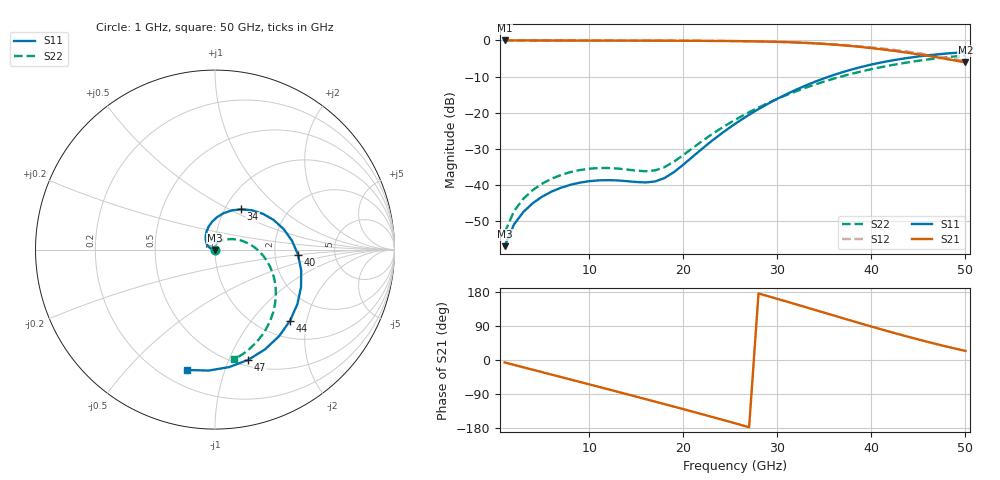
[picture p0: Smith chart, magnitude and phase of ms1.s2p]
! Impedora 0.10.0 via model, case ms1 (fullwave/cases.json), 2026-11-19
! Microstrip launch: 0.5 mm pad 0.2 mm above the top plane, 0.7 mm antipad, one plane pair: with its pads and traces, ports at the far end of each trace, after the 3D port calibration.
! Ports: 1 = upper end, 2 = lower end, 50 ohm.
! Compared with the edge 3D mesh.
# Hz S RI R 50
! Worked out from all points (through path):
!   50 points, 1 GHz to 50 GHz, reference 50 ohm
!   highest |S21| = 0.00 dB at 1 GHz (marker M1); lowest = -6.1 dB at 50 GHz (marker M2)
!   group delay of S21, straight-line fit = 19 ps
!   lowest |S11| = -57.0 dB at 1 GHz (marker M3), VSWR 1.00, Z = 50 - j0.14 ohm
!   |S11| at or under -10 dB: start of sweep to 35.51 GHz
!   |S22| runs from -53.3 to -4.2 dB; largest |S21 - S12| = 1.4
!   S11 on the Smith chart (normalised r, x): 1 GHz: 1.00, -0.00; 34 GHz: 1.19, +0.58; 40 GHz: 2.71, -0.19; 44 GHz: 1.35, -1.60; 47 GHz: 0.57, -1.18; 50 GHz: 0.29, -0.75
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1e9  -0.000202 -0.0014  0.9937 -0.1119  0.9981 -0.0609  -0.000124 -0.00217
2e9  -0.000807 -0.00271  0.9748 -0.2223  0.9924 -0.1215  -0.000498 -0.0043
3e9  -0.0018 -0.00382  0.9436 -0.3298  0.983 -0.1817  -0.00113 -0.00634
4e9  -0.00312 -0.00462  0.9005 -0.4332  0.9698 -0.2411  -0.00203 -0.00823
7e9  -0.00802 -0.00434  0.7063 -0.7054  0.909 -0.413  -0.00612 -0.0123
1e10  -0.0112 -0.000248  0.4326 -0.8983  0.8175 -0.5715  -0.0113 -0.0124
1.4e10  -0.0101 0.00492  -0.00346 -0.9951  0.6516 -0.7533  -0.0158 -0.00408
1.6e10  -0.00955 0.00502  -0.2279 -0.9673  0.5516 -0.8281  -0.0149 0.00388
1.8e10  -0.0118 0.004  -0.4412 -0.8888  0.4417 -0.8902  -0.0105 0.0141
2.2e10  -0.0298 0.0104  -0.7892 -0.5936  0.1967 -0.9695  0.0135 0.038
2.4e10  -0.0431 0.0267  -0.9029 -0.3903  0.0651 -0.9831  0.0354 0.049
2.6e10  -0.052 0.0571  -0.9641 -0.1632  -0.0697 -0.9768  0.0651 0.0567
2.8e10  -0.0468 0.1018  -0.9662 0.0744  -0.2042 -0.9487  0.1025 0.0582
3e10  -0.0165 0.1548  -0.9057 0.3059  -0.3342 -0.8975  0.1468 0.0501
3.2e10  0.0476 0.2026  -0.7845 0.5125  -0.4542 -0.8228  0.1956 0.0289
3.4e10  0.1459 0.2248  -0.6114 0.6749  -0.5578 -0.7262  0.2448 -0.00808
3.7e10  0.3265 0.1652  -0.2938 0.8033  -0.6696 -0.5499  0.3071 -0.0952
4e10  0.4625 -0.028  0.0222 0.783  -0.7177 -0.3572  0.3382 -0.214
4.2e10  0.4795 -0.2087  0.1967 0.7017  -0.7142 -0.2332  0.3345 -0.303
4.4e10  0.4183 -0.3959  0.3278 0.586  -0.6857 -0.121  0.309 -0.3931
4.7e10  0.1859 -0.6138  0.4368 0.3867  -0.607 0.0129  0.23 -0.5172
5e10  -0.1563 -0.6707  0.4531 0.2022  -0.505 0.0952  0.1082 -0.6098
